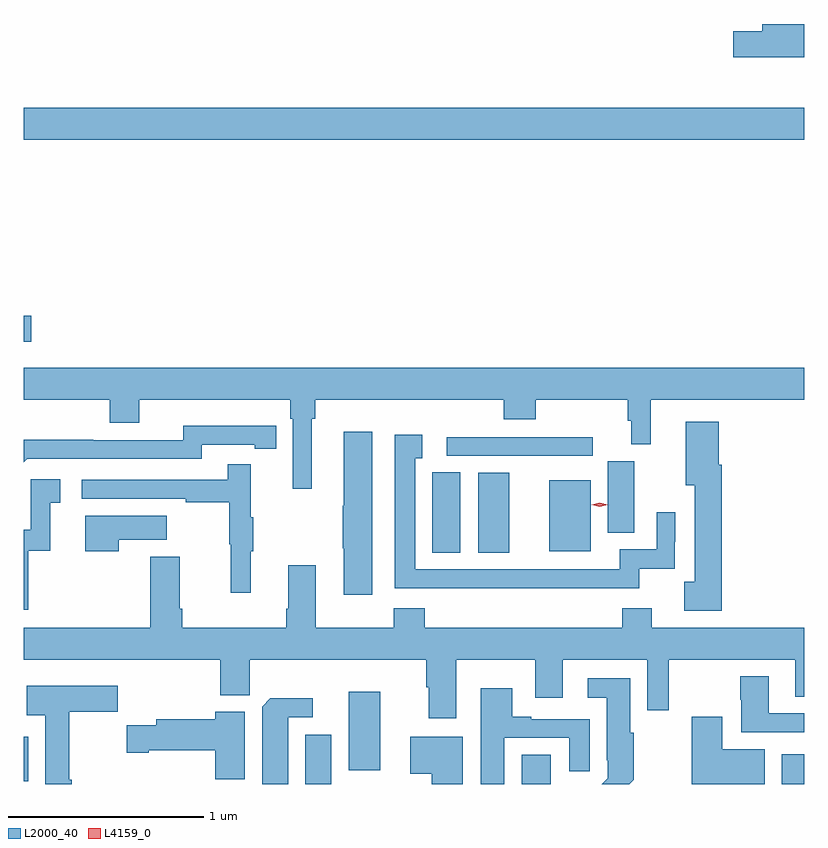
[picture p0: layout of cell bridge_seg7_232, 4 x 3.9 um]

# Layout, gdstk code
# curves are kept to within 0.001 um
import gdstk
lib = gdstk.Library(unit=1e-6, precision=1e-09)
def R(c, l, rs):  # rectangles x0, y0, x1, y1
    for r in rs: c.add(gdstk.rectangle(r[:2], r[2:], *l))
def P(c, l, *ps):  # polygons
    for p in ps: c.add(gdstk.Polygon(p, *l))
L2000_40 = (2000, 40)
L4159_0 = (4159, 0)

bridge_seg7_232 = lib.new_cell('bridge_seg7_232')
R(bridge_seg7_232, L2000_40, [(326.312,1021.291,326.446,1021.543), (327.422,1021.291,327.571,1021.442), (328.754,1021.291,328.869,1021.444), (324.869,1021.304,324.892,1021.534), (326.534,1021.362,326.695,1021.765), (326.963,1022.476,327.106,1022.888), (327.197,1022.476,327.358,1022.887), (327.563,1022.483,327.775,1022.848), (327.863,1022.579,327.997,1022.946), (327.036,1022.973,327.784,1023.069), (324.869,1023.557,324.907,1023.692), (324.869,1024.592,328.869,1024.756)])
P(bridge_seg7_232, L2000_40, [(328.869,1025.186),(328.655,1025.186),(328.655,1025.15),(328.506,1025.15),(328.506,1025.015),(328.869,1025.015)],
  [(326.344,1023.164),(326.363,1023.164),(326.363,1023.26),(327.329,1023.26),(327.329,1023.161),(327.494,1023.161),(327.494,1023.26),(327.964,1023.26),(327.964,1023.152),(327.983,1023.152),(327.983,1023.031),(328.082,1023.031),(328.082,1023.26),(328.869,1023.26),(328.869,1023.424),(324.869,1023.424),(324.869,1023.26),(325.31,1023.26),(325.31,1023.143),(325.462,1023.143),(325.462,1023.26),(326.234,1023.26),(326.234,1023.164),(326.247,1023.164),(326.247,1022.805),(326.344,1022.805)],
  [(328.445,1022.926),(328.432,1022.926),(328.432,1023.148),(328.262,1023.148),(328.262,1022.822),(328.307,1022.822),(328.307,1022.328),(328.254,1022.328),(328.254,1022.18),(328.445,1022.18)],
  [(324.888,1022.958),(325.782,1022.958),(325.782,1023.03),(326.054,1023.03),(326.054,1023.01),(326.162,1023.01),(326.162,1023.126),(325.686,1023.127),(325.686,1023.054),(325.226,1023.054),(325.226,1023.056),(324.869,1023.056),(324.869,1022.939)],
  [(326.656,1023.097),(326.51,1023.097),(326.51,1022.717),(326.503,1022.717),(326.503,1022.5),(326.51,1022.5),(326.51,1022.262),(326.656,1022.262)],
  [(328.023,1022.394),(328.206,1022.394),(328.206,1022.532),(328.209,1022.532),(328.209,1022.683),(328.113,1022.683),(328.113,1022.494),(327.923,1022.494),(327.923,1022.391),(326.875,1022.391),(326.875,1022.961),(326.911,1022.961),(326.911,1023.082),(326.771,1023.082),(326.771,1022.294),(328.023,1022.294)],
  [(326.033,1022.483),(326.044,1022.483),(326.044,1022.657),(326.033,1022.657),(326.033,1022.929),(325.915,1022.929),(325.915,1022.85),(325.167,1022.85),(325.167,1022.754),(325.699,1022.754),(325.699,1022.734),(325.923,1022.734),(325.923,1022.52),(325.93,1022.52),(325.93,1022.271),(326.033,1022.271)],
  [(324.893,1022.487),(325.004,1022.487),(325.004,1022.733),(325.057,1022.733),(325.057,1022.854),(324.906,1022.854),(324.906,1022.595),(324.869,1022.595),(324.869,1022.184),(324.893,1022.184)],
  [(325.355,1022.543),(325.603,1022.543),(325.603,1022.665),(325.184,1022.665),(325.184,1022.484),(325.355,1022.484)],
  [(326.924,1022.191),(326.764,1022.191),(326.764,1022.092),(326.365,1022.092),(326.365,1022.413),(326.225,1022.413),(326.225,1022.188),(326.213,1022.188),(326.213,1022.092),(325.682,1022.092),(325.682,1022.188),(325.669,1022.188),(325.669,1022.455),(325.517,1022.455),(325.517,1022.092),(324.869,1022.092),(324.869,1021.928),(325.877,1021.928),(325.877,1021.747),(326.027,1021.747),(326.027,1021.928),(326.933,1021.928),(326.933,1021.787),(326.945,1021.787),(326.945,1021.629),(327.085,1021.629),(327.085,1021.928),(327.491,1021.928),(327.491,1021.734),(327.631,1021.734),(327.631,1021.928),(328.065,1021.928),(328.065,1021.668),(328.174,1021.668),(328.174,1021.928),(328.823,1021.928),(328.823,1021.738),(328.869,1021.738),(328.869,1022.092),(328.087,1022.092),(328.087,1022.191),(327.935,1022.191),(327.935,1022.092),(326.924,1022.092)],
  [(328.869,1021.653),(328.687,1021.653),(328.687,1021.843),(328.54,1021.843),(328.54,1021.723),(328.547,1021.723),(328.547,1021.557),(328.869,1021.557)],
  [(327.994,1021.314),(327.994,1021.554),(327.976,1021.554),(327.976,1021.834),(327.759,1021.834),(327.759,1021.733),(327.857,1021.733),(327.857,1021.414),(327.861,1021.414),(327.861,1021.32),(327.832,1021.291),(327.971,1021.291)],
  [(325.115,1021.312),(325.102,1021.312),(325.102,1021.662),(325.351,1021.662),(325.351,1021.795),(324.885,1021.795),(324.885,1021.643),(324.98,1021.643),(324.98,1021.291),(325.115,1021.291)],
  [(327.331,1021.527),(327.665,1021.527),(327.665,1021.356),(327.769,1021.356),(327.769,1021.623),(327.469,1021.623),(327.469,1021.636),(327.373,1021.636),(327.373,1021.783),(327.212,1021.783),(327.212,1021.291),(327.331,1021.291)],
  [(326.224,1021.632),(326.35,1021.632),(326.35,1021.73),(326.131,1021.73),(326.09,1021.688),(326.09,1021.291),(326.224,1021.291)],
  [(326.002,1021.662),(325.85,1021.662),(325.85,1021.623),(325.547,1021.623),(325.547,1021.591),(325.398,1021.591),(325.398,1021.451),(325.51,1021.451),(325.51,1021.463),(325.85,1021.463),(325.85,1021.315),(326.002,1021.315)],
  [(328.666,1021.468),(328.45,1021.468),(328.45,1021.636),(328.292,1021.636),(328.292,1021.291),(328.666,1021.291)],
  [(327.118,1021.534),(326.849,1021.534),(326.849,1021.343),(326.96,1021.343),(326.96,1021.291),(327.118,1021.291)])
P(bridge_seg7_232, L4159_0, [(327.82,1022.712),(327.78,1022.721),(327.78,1022.721),(327.78,1022.722),(327.82,1022.732),(327.861,1022.723),(327.861,1022.723),(327.861,1022.723)])

lib.write_gds('bridge_seg7_232.gds')
